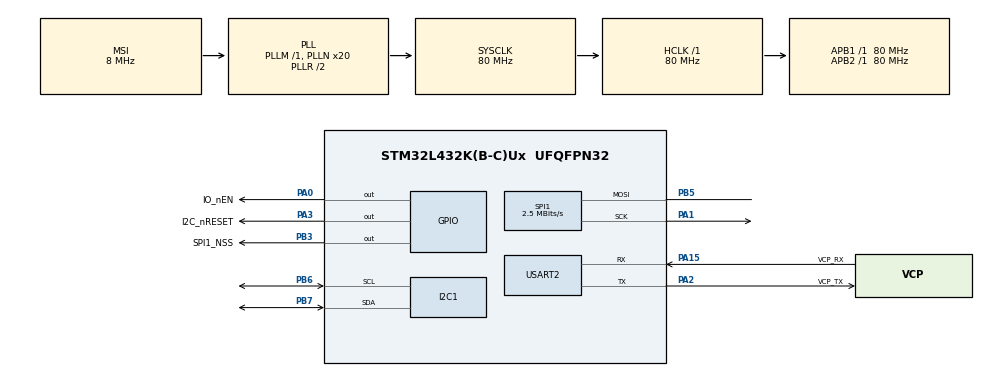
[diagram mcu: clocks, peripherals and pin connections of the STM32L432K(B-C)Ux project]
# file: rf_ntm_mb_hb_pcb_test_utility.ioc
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FREERTOS.INCLUDE_uxTaskGetStackHighWaterMark2=0
FREERTOS.INCLUDE_vTaskDelayUntil=1
FREERTOS.Queues01=serialRxEvent,128,uint32_t,0,Dynamic,NULL,NULL;serialCmdTaskRxData,128,uint32_t,0,Dynamic,NULL,NULL;serialCmdTaskTxData,512,uint32_t,0,Dynamic,NULL,NULL
FREERTOS.Tasks01=defaultTask,0,128,StartDefaultTask,Default,NULL,Dynamic,NULL,NULL;serialBufferTask,0,256,sbt_SerialBufferTask,As external,NULL,Dynamic,NULL,NULL;serialCmdTask,-1,512,sct_SerialCmdTask,As external,NULL,Dynamic,NULL,NULL
FREERTOS.configMAX_TASK_NAME_LEN=32
FREERTOS.configTOTAL_HEAP_SIZE=10240
I2C1.Timing=0x10909CEC
Mcu.Family=STM32L4
Mcu.Name=STM32L432K(B-C)Ux
Mcu.Package=UFQFPN32
NVIC.PriorityGroup=NVIC_PRIORITYGROUP_4
NVIC.TIM1_UP_TIM16_IRQn=true\:0\:0\:false\:false\:true\:false\:false\:true
NVIC.TimeBase=TIM1_UP_TIM16_IRQn
NVIC.TimeBaseIP=TIM16
NVIC.USART2_IRQn=true\:5\:0\:false\:false\:true\:true\:true\:true
PA0.GPIO_Label=IO_nEN
PA0.Signal=GPIO_Output
PA1.Mode=Simplex_Bidirectional_Master
PA1.Signal=SPI1_SCK
PA13\ (JTMS-SWDIO).GPIO_Label=SWDIO
PA13\ (JTMS-SWDIO).Mode=Serial_Wire
PA13\ (JTMS-SWDIO).Signal=SYS_JTMS-SWDIO
PA14\ (JTCK-SWCLK).GPIO_Label=SWCLK
PA14\ (JTCK-SWCLK).Mode=Serial_Wire
PA14\ (JTCK-SWCLK).Signal=SYS_JTCK-SWCLK
PA15\ (JTDI).GPIO_Label=VCP_RX
PA15\ (JTDI).Mode=Asynchronous
PA15\ (JTDI).Signal=USART2_RX
PA2.GPIO_Label=VCP_TX
PA2.Mode=Asynchronous
PA2.Signal=USART2_TX
PA3.GPIO_Label=I2C_nRESET
PA3.Signal=GPIO_Output
PB3\ (JTDO-TRACESWO).GPIO_Label=SPI1_NSS
PB3\ (JTDO-TRACESWO).PinState=GPIO_PIN_SET
PB3\ (JTDO-TRACESWO).Signal=GPIO_Output
PB5.Mode=Simplex_Bidirectional_Master
PB5.Signal=SPI1_MOSI
PB6.Mode=I2C
PB6.Signal=I2C1_SCL
PB7.Mode=I2C
PB7.Signal=I2C1_SDA
PC14-OSC32_IN\ (PC14).Mode=LSE-External-Oscillator
PC14-OSC32_IN\ (PC14).Signal=RCC_OSC32_IN
PC15-OSC32_OUT\ (PC15).Mode=LSE-External-Oscillator
PC15-OSC32_OUT\ (PC15).Signal=RCC_OSC32_OUT
ProjectManager.HeapSize=0x200
ProjectManager.StackSize=0x400
ProjectManager.TargetToolchain=STM32CubeIDE
RCC.ADCFreq_Value=32000000
RCC.AHBFreq_Value=80000000
RCC.APB1Freq_Value=80000000
RCC.APB1TimFreq_Value=80000000
RCC.APB2Freq_Value=80000000
RCC.APB2TimFreq_Value=80000000
RCC.CortexFreq_Value=80000000
RCC.HCLKFreq_Value=80000000
RCC.HSE_VALUE=8000000
RCC.HSI16_VALUE=16000000
RCC.HSI48_VALUE=48000000
RCC.HSI_VALUE=16000000
RCC.MSIClockRange=RCC_MSIRANGE_7
RCC.MSI_VALUE=8000000
RCC.PLLMUL=RCC_PLLMUL_4
RCC.PLLN=20
RCC.SYSCLKFreq_VALUE=80000000
RCC.SYSCLKSource=RCC_SYSCLKSOURCE_PLLCLK
RCC.USBFreq_Value=32000000
RCC.VCOOutputFreq_Value=160000000
SPI1.BaudRatePrescaler=SPI_BAUDRATEPRESCALER_32
SPI1.CalculateBaudRate=2.5 MBits/s
SPI1.DataSize=SPI_DATASIZE_8BIT
SPI1.Direction=SPI_DIRECTION_1LINE
SPI1.Mode=SPI_MODE_MASTER
SPI1.VirtualType=VM_MASTER
USART2.VirtualMode-Asynchronous=VM_ASYNC
VP_FREERTOS_VS_CMSIS_V1.Mode=CMSIS_V1
VP_SYS_VS_tim16.Mode=TIM16
board=NUCLEO-L432KC

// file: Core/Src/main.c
/* USER CODE BEGIN Header */
/**
  ******************************************************************************
  * @file           : main.c
  * @brief          : Main program body
  ******************************************************************************
  * @attention
  *
  * <h2><center>&copy; Copyright (c) 2020 STMicroelectronics.
  * All rights reserved.</center></h2>
  *
  * This software component is licensed by ST under BSD 3-Clause license,
  * the "License"; You may not use this file except in compliance with the
  * License. You may obtain a copy of the License at:
  *                        opensource.org/licenses/BSD-3-Clause
  *
  ******************************************************************************
  */
/* USER CODE END Header */

#include "main.h"
#include "cmsis_os.h"

/* USER CODE BEGIN Includes */
#include "serial_buffer_task.h"
#include "serial_cmd_task.h"
/* USER CODE END Includes */

I2C_HandleTypeDef hi2c1;

SPI_HandleTypeDef hspi1;

UART_HandleTypeDef huart2;

osThreadId defaultTaskHandle;
osThreadId serialBufferTaskHandle;
osThreadId serialCmdTaskHandle;
osMessageQId serialRxEventHandle;
osMessageQId serialCmdTaskRxDataHandle;
osMessageQId serialCmdTaskTxDataHandle;

void SystemClock_Config(void);
static void MX_GPIO_Init(void);
static void MX_I2C1_Init(void);
static void MX_SPI1_Init(void);
static void MX_USART2_UART_Init(void);
void StartDefaultTask(void const * argument);
extern void sbt_SerialBufferTask(void const * argument);
extern void sct_SerialCmdTask(void const * argument);

int main(void)
{
  /* USER CODE BEGIN 1 */
	sbt_Init_t sbt_init_data;
	sct_Init_t sct_init_data;
  /* USER CODE END 1 */

  /* MCU Configuration--------------------------------------------------------*/

  /* Reset of all peripherals, Initializes the Flash interface and the Systick. */
  HAL_Init();

  /* Configure the system clock */
  SystemClock_Config();

  /* Initialize all configured peripherals */
  MX_GPIO_Init();
  MX_I2C1_Init();
  MX_SPI1_Init();
  MX_USART2_UART_Init();

  /* Create the queue(s) */
  /* definition and creation of serialRxEvent */
  osMessageQDef(serialRxEvent, 128, uint32_t);
  serialRxEventHandle = osMessageCreate(osMessageQ(serialRxEvent), NULL);

  /* definition and creation of serialCmdTaskRxData */
  osMessageQDef(serialCmdTaskRxData, 128, uint32_t);
  serialCmdTaskRxDataHandle = osMessageCreate(osMessageQ(serialCmdTaskRxData), NULL);

  /* definition and creation of serialCmdTaskTxData */
  osMessageQDef(serialCmdTaskTxData, 512, uint32_t);
  serialCmdTaskTxDataHandle = osMessageCreate(osMessageQ(serialCmdTaskTxData), NULL);

  /* Create the thread(s) */
  /* definition and creation of defaultTask */
  osThreadDef(defaultTask, StartDefaultTask, osPriorityNormal, 0, 128);
  defaultTaskHandle = osThreadCreate(osThread(defaultTask), NULL);

  /* definition and creation of serialBufferTask */
  osThreadDef(serialBufferTask, sbt_SerialBufferTask, osPriorityNormal, 0, 256);
  serialBufferTaskHandle = osThreadCreate(osThread(serialBufferTask), NULL);

  /* definition and creation of serialCmdTask */
  osThreadDef(serialCmdTask, sct_SerialCmdTask, osPriorityBelowNormal, 0, 512);
  serialCmdTaskHandle = osThreadCreate(osThread(serialCmdTask), NULL);

  /* USER CODE BEGIN RTOS_THREADS */
  /* add threads, ... */
  sbt_init_data.rx_event_queue				= serialRxEventHandle;
  sbt_init_data.no_uarts					= 1;
  sbt_init_data.uarts[0].huart 				= &huart2;
  sbt_init_data.uarts[0].uart_rx_data_queue	= serialCmdTaskRxDataHandle;
  sbt_init_data.uarts[0].uart_tx_data_queue	= serialCmdTaskTxDataHandle;
  sbt_InitTask(sbt_init_data);

  sct_init_data.tx_data_queue 				= serialCmdTaskTxDataHandle;
  sct_init_data.rx_data_queue 				= serialCmdTaskRxDataHandle;
  sct_init_data.i2c_device					= &hi2c1;
  sct_init_data.i2c_reset_gpio_port 		= I2C_nRESET_GPIO_Port;
  sct_init_data.i2c_reset_gpio_pin			= I2C_nRESET_Pin;
  sct_init_data.spi_device                  = &hspi1;
  sct_init_data.xcvr_ncs_gpio_port          = SPI1_NSS_GPIO_Port;
  sct_init_data.xcvr_ncs_gpio_pin           = SPI1_NSS_Pin;
  sct_InitTask(sct_init_data);
  /* USER CODE END RTOS_THREADS */

  /* Start scheduler */
  osKernelStart();

  /* We should never get here as control is now taken by the scheduler */
  /* Infinite loop */
  while (1)
  {

  }
}

void SystemClock_Config(void)
{
  RCC_OscInitTypeDef RCC_OscInitStruct = {0};
  RCC_ClkInitTypeDef RCC_ClkInitStruct = {0};
  RCC_PeriphCLKInitTypeDef PeriphClkInit = {0};

  /** Configure LSE Drive Capability
  */
  HAL_PWR_EnableBkUpAccess();
  __HAL_RCC_LSEDRIVE_CONFIG(RCC_LSEDRIVE_LOW);
  /** Initializes the CPU, AHB and APB busses clocks
  */
  RCC_OscInitStruct.OscillatorType = RCC_OSCILLATORTYPE_LSE|RCC_OSCILLATORTYPE_MSI;
  RCC_OscInitStruct.LSEState = RCC_LSE_ON;
  RCC_OscInitStruct.MSIState = RCC_MSI_ON;
  RCC_OscInitStruct.MSICalibrationValue = 0;
  RCC_OscInitStruct.MSIClockRange = RCC_MSIRANGE_7;
  RCC_OscInitStruct.PLL.PLLState = RCC_PLL_ON;
  RCC_OscInitStruct.PLL.PLLSource = RCC_PLLSOURCE_MSI;
  RCC_OscInitStruct.PLL.PLLM = 1;
  RCC_OscInitStruct.PLL.PLLN = 20;
  RCC_OscInitStruct.PLL.PLLP = RCC_PLLP_DIV7;
  RCC_OscInitStruct.PLL.PLLQ = RCC_PLLQ_DIV2;
  RCC_OscInitStruct.PLL.PLLR = RCC_PLLR_DIV2;
  if (HAL_RCC_OscConfig(&RCC_OscInitStruct) != HAL_OK)
  {
    Error_Handler();
  }
  /** Initializes the CPU, AHB and APB busses clocks
  */
  RCC_ClkInitStruct.ClockType = RCC_CLOCKTYPE_HCLK|RCC_CLOCKTYPE_SYSCLK
                              |RCC_CLOCKTYPE_PCLK1|RCC_CLOCKTYPE_PCLK2;
  RCC_ClkInitStruct.SYSCLKSource = RCC_SYSCLKSOURCE_PLLCLK;
  RCC_ClkInitStruct.AHBCLKDivider = RCC_SYSCLK_DIV1;
  RCC_ClkInitStruct.APB1CLKDivider = RCC_HCLK_DIV1;
  RCC_ClkInitStruct.APB2CLKDivider = RCC_HCLK_DIV1;

  if (HAL_RCC_ClockConfig(&RCC_ClkInitStruct, FLASH_LATENCY_4) != HAL_OK)
  {
    Error_Handler();
  }
  PeriphClkInit.PeriphClockSelection = RCC_PERIPHCLK_USART2|RCC_PERIPHCLK_I2C1;
  PeriphClkInit.Usart2ClockSelection = RCC_USART2CLKSOURCE_PCLK1;
  PeriphClkInit.I2c1ClockSelection = RCC_I2C1CLKSOURCE_PCLK1;
  if (HAL_RCCEx_PeriphCLKConfig(&PeriphClkInit) != HAL_OK)
  {
    Error_Handler();
  }
  /** Configure the main internal regulator output voltage
  */
  if (HAL_PWREx_ControlVoltageScaling(PWR_REGULATOR_VOLTAGE_SCALE1) != HAL_OK)
  {
    Error_Handler();
  }
  /** Enable MSI Auto calibration
  */
  HAL_RCCEx_EnableMSIPLLMode();
}

static void MX_I2C1_Init(void)
{

  hi2c1.Instance = I2C1;
  hi2c1.Init.Timing = 0x10909CEC;
  hi2c1.Init.OwnAddress1 = 0;
  hi2c1.Init.AddressingMode = I2C_ADDRESSINGMODE_7BIT;
  hi2c1.Init.DualAddressMode = I2C_DUALADDRESS_DISABLE;
  hi2c1.Init.OwnAddress2 = 0;
  hi2c1.Init.OwnAddress2Masks = I2C_OA2_NOMASK;
  hi2c1.Init.GeneralCallMode = I2C_GENERALCALL_DISABLE;
  hi2c1.Init.NoStretchMode = I2C_NOSTRETCH_DISABLE;
  if (HAL_I2C_Init(&hi2c1) != HAL_OK)
  {
    Error_Handler();
  }
  /** Configure Analogue filter
  */
  if (HAL_I2CEx_ConfigAnalogFilter(&hi2c1, I2C_ANALOGFILTER_ENABLE) != HAL_OK)
  {
    Error_Handler();
  }
  /** Configure Digital filter
  */
  if (HAL_I2CEx_ConfigDigitalFilter(&hi2c1, 0) != HAL_OK)
  {
    Error_Handler();
  }

}

static void MX_SPI1_Init(void)
{

  /* SPI1 parameter configuration*/
  hspi1.Instance = SPI1;
  hspi1.Init.Mode = SPI_MODE_MASTER;
  hspi1.Init.Direction = SPI_DIRECTION_1LINE;
  hspi1.Init.DataSize = SPI_DATASIZE_8BIT;
  hspi1.Init.CLKPolarity = SPI_POLARITY_LOW;
  hspi1.Init.CLKPhase = SPI_PHASE_1EDGE;
  hspi1.Init.NSS = SPI_NSS_SOFT;
  hspi1.Init.BaudRatePrescaler = SPI_BAUDRATEPRESCALER_32;
  hspi1.Init.FirstBit = SPI_FIRSTBIT_MSB;
  hspi1.Init.TIMode = SPI_TIMODE_DISABLE;
  hspi1.Init.CRCCalculation = SPI_CRCCALCULATION_DISABLE;
  hspi1.Init.CRCPolynomial = 7;
  hspi1.Init.CRCLength = SPI_CRC_LENGTH_DATASIZE;
  hspi1.Init.NSSPMode = SPI_NSS_PULSE_ENABLE;
  if (HAL_SPI_Init(&hspi1) != HAL_OK)
  {
    Error_Handler();
  }

}

static void MX_USART2_UART_Init(void)
{

  huart2.Instance = USART2;
  huart2.Init.BaudRate = 115200;
  huart2.Init.WordLength = UART_WORDLENGTH_8B;
  huart2.Init.StopBits = UART_STOPBITS_1;
  huart2.Init.Parity = UART_PARITY_NONE;
  huart2.Init.Mode = UART_MODE_TX_RX;
  huart2.Init.HwFlowCtl = UART_HWCONTROL_NONE;
  huart2.Init.OverSampling = UART_OVERSAMPLING_16;
  huart2.Init.OneBitSampling = UART_ONE_BIT_SAMPLE_DISABLE;
  huart2.AdvancedInit.AdvFeatureInit = UART_ADVFEATURE_NO_INIT;
  if (HAL_UART_Init(&huart2) != HAL_OK)
  {
    Error_Handler();
  }

}

static void MX_GPIO_Init(void)
{
  GPIO_InitTypeDef GPIO_InitStruct = {0};

  /* GPIO Ports Clock Enable */
  __HAL_RCC_GPIOC_CLK_ENABLE();
  __HAL_RCC_GPIOA_CLK_ENABLE();
  __HAL_RCC_GPIOB_CLK_ENABLE();

  /*Configure GPIO pin Output Level */
  HAL_GPIO_WritePin(GPIOA, IO_nEN_Pin|I2C_nRESET_Pin, GPIO_PIN_RESET);

  /*Configure GPIO pin Output Level */
  HAL_GPIO_WritePin(SPI1_NSS_GPIO_Port, SPI1_NSS_Pin, GPIO_PIN_SET);

  /*Configure GPIO pins : IO_nEN_Pin I2C_nRESET_Pin */
  GPIO_InitStruct.Pin = IO_nEN_Pin|I2C_nRESET_Pin;
  GPIO_InitStruct.Mode = GPIO_MODE_OUTPUT_PP;
  GPIO_InitStruct.Pull = GPIO_NOPULL;
  GPIO_InitStruct.Speed = GPIO_SPEED_FREQ_LOW;
  HAL_GPIO_Init(GPIOA, &GPIO_InitStruct);

  /*Configure GPIO pin : SPI1_NSS_Pin */
  GPIO_InitStruct.Pin = SPI1_NSS_Pin;
  GPIO_InitStruct.Mode = GPIO_MODE_OUTPUT_PP;
  GPIO_InitStruct.Pull = GPIO_NOPULL;
  GPIO_InitStruct.Speed = GPIO_SPEED_FREQ_LOW;
  HAL_GPIO_Init(SPI1_NSS_GPIO_Port, &GPIO_InitStruct);

}

void StartDefaultTask(void const * argument)
{
  for(;;)
  {
    osDelay(1);
  }
}

 /**
  * @brief  Period elapsed callback in non blocking mode
  * @note   This function is called  when TIM16 interrupt took place, inside
  * HAL_TIM_IRQHandler(). It makes a direct call to HAL_IncTick() to increment
  * a global variable "uwTick" used as application time base.
  * @param  htim : TIM handle
  * @retval None
  */
void HAL_TIM_PeriodElapsedCallback(TIM_HandleTypeDef *htim)
{
  if (htim->Instance == TIM16) {
    HAL_IncTick();
  }
}

void Error_Handler(void)
{
}

/************************ (C) COPYRIGHT STMicroelectronics *****END OF FILE****/
